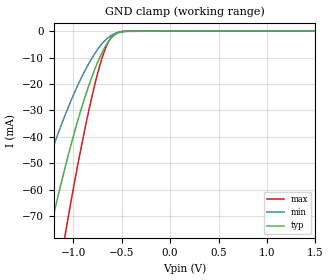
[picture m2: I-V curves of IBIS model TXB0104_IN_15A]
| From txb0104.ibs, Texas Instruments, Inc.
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[Model]   TXB0104_IN_15A
Model_type  Input
Vinl=0.49
Vinh=1.04
| variable   typ   min   max
C_comp   3.06pF   2.68pF   3.28pF
[Temperature Range]   40   100   -40
| Ambient temperature   25   85   -40
[Voltage range]   1.5   1.4   1.6
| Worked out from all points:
|   GND clamp passes 1 mA (typ) near -0.55 V on its own axis
[GND Clamp]
| TXB0104_IN_15A
|   Voltage   I(typ)   I(min)   I(max)
-5.5V     -1.044A    -792.2mA   -1.306A
-1.485V   -118mA     -75.68mA   -171.9mA
-1.255V   -77.94mA   -48.9mA    -115.7mA
-1.215V   -71.47mA   -44.66mA   -106.4mA
-1.095V   -53.15mA   -32.79mA   -79.61mA
-1.06V    -48.14mA   -29.58mA   -72.15mA
-895mV    -26.84mA   -16.12mA   -39.76mA
-760mV    -12.86mA   -7.552mA   -17.68mA
-665mV    -5.597mA   -3.318mA   -6.389mA
-575mV    -1.539mA   -1.032mA   -1.212mA
-450mV    -95.72uA   -91.06uA   -34.08uA
1.5V      97.95pA    495pA      11.19pA
